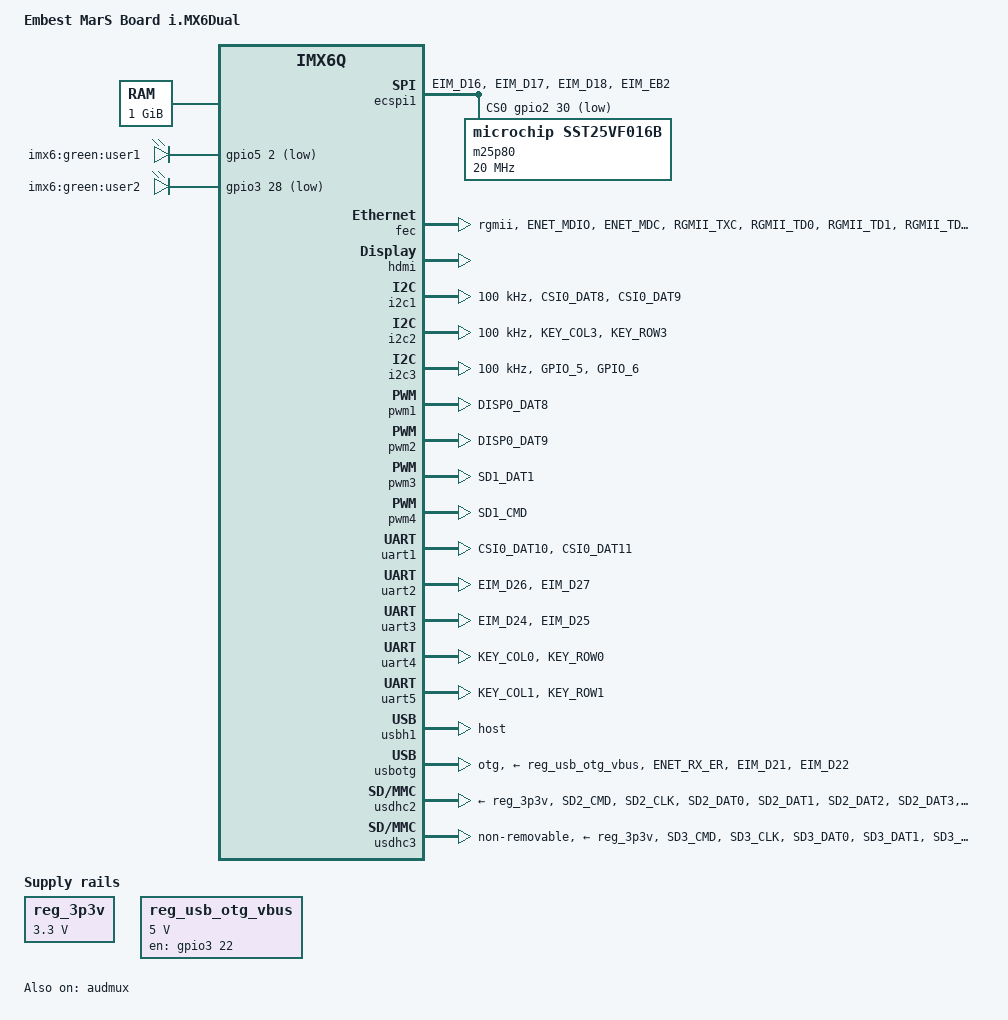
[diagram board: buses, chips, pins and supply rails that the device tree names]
/*
 * Copyright (C) 2016 Sergio Prado (sergio.prado@e-labworks.com)
 *
 * This file is dual-licensed: you can use it either under the terms
 * of the GPL or the X11 license, at your option. Note that this dual
 * licensing only applies to this file, and not this project as a
 * whole.
 *
 *  a) This file is free software; you can redistribute it and/or
 *     modify it under the terms of the GNU General Public License
 *     version 2 as published by the Free Software Foundation.
 *
 *     This file is distributed in the hope that it will be useful
 *     but WITHOUT ANY WARRANTY; without even the implied warranty of
 *     MERCHANTABILITY or FITNESS FOR A PARTICULAR PURPOSE.  See the
 *     GNU General Public License for more details.
 *
 * Or, alternatively
 *
 *  b) Permission is hereby granted, free of charge, to any person
 *     obtaining a copy of this software and associated documentation
 *     files (the "Software"), to deal in the Software without
 *     restriction, including without limitation the rights to use
 *     copy, modify, merge, publish, distribute, sublicense, and/or
 *     sell copies of the Software, and to permit persons to whom the
 *     Software is furnished to do so, subject to the following
 *     conditions:
 *
 *     The above copyright notice and this permission notice shall be
 *     included in all copies or substantial portions of the Software.
 *
 *     THE SOFTWARE IS PROVIDED , WITHOUT WARRANTY OF ANY KIND
 *     EXPRESS OR IMPLIED, INCLUDING BUT NOT LIMITED TO THE WARRANTIES
 *     OF MERCHANTABILITY, FITNESS FOR A PARTICULAR PURPOSE AND
 *     NONINFRINGEMENT. IN NO EVENT SHALL THE AUTHORS OR COPYRIGHT
 *     HOLDERS BE LIABLE FOR ANY CLAIM, DAMAGES OR OTHER LIABILITY
 *     WHETHER IN AN ACTION OF CONTRACT, TORT OR OTHERWISE, ARISING
 *     FROM, OUT OF OR IN CONNECTION WITH THE SOFTWARE OR THE USE OR
 *     OTHER DEALINGS IN THE SOFTWARE.
 */

/dts-v1/;
#include "imx6q.dtsi"
#include <dt-bindings/gpio/gpio.h>

/ {
	model = "Embest MarS Board i.MX6Dual";
	compatible = "embest,imx6q-marsboard", "fsl,imx6q";

	memory {
		reg = <0x10000000 0x40000000>;
	};

	reg_3p3v: regulator-3p3v {
		compatible = "regulator-fixed";
		regulator-name = "3P3V";
		regulator-min-microvolt = <3300000>;
		regulator-max-microvolt = <3300000>;
	};

	reg_usb_otg_vbus: regulator-usb-otg-vbus {
		compatible = "regulator-fixed";
		regulator-name = "usb_otg_vbus";
		regulator-min-microvolt = <5000000>;
		regulator-max-microvolt = <5000000>;
		gpio = <&gpio3 22 GPIO_ACTIVE_HIGH>;
		enable-active-high;
	};

	leds {
		compatible = "gpio-leds";
		pinctrl-names = "default";
		pinctrl-0 = <&pinctrl_led>;

		user1 {
			label = "imx6:green:user1";
			gpios = <&gpio5 2 GPIO_ACTIVE_LOW>;
			default-state = "off";
			linux,default-trigger = "heartbeat";
		};

		user2 {
			label = "imx6:green:user2";
			gpios = <&gpio3 28 GPIO_ACTIVE_LOW>;
			default-state = "off";
		};
	};
};

&audmux {
	pinctrl-names = "default";
	pinctrl-0 = <&pinctrl_audmux>;
	status = "okay";
};

&ecspi1 {
	pinctrl-names = "default";
	pinctrl-0 = <&pinctrl_ecspi1>;
	cs-gpios = <&gpio2 30 GPIO_ACTIVE_LOW>;
	fsl,spi-num-chipselects = <1>;
	status = "okay";

	m25p80@0 {
		compatible = "microchip,sst25vf016b";
		spi-max-frequency = <20000000>;
		reg = <0>;
	};
};

&fec {
	pinctrl-names = "default";
	pinctrl-0 = <&pinctrl_enet>;
	phy-mode = "rgmii";
	phy-reset-gpios = <&gpio3 31 GPIO_ACTIVE_LOW>;
	status = "okay";
};

&hdmi {
	ddc-i2c-bus = <&i2c2>;
	status = "okay";
};

&i2c1 {
	clock-frequency = <100000>;
	pinctrl-names = "default";
	pinctrl-0 = <&pinctrl_i2c1>;
	status = "okay";
};

&i2c2 {
	clock-frequency = <100000>;
	pinctrl-names = "default";
	pinctrl-0 = <&pinctrl_i2c2>;
	status = "okay";
};

&i2c3 {
	clock-frequency = <100000>;
	pinctrl-names = "default";
	pinctrl-0 = <&pinctrl_i2c3>;
	status = "okay";
};

&pwm1 {
	pinctrl-names = "default";
	pinctrl-0 = <&pinctrl_pwm1>;
	status = "okay";
};

&pwm2 {
	pinctrl-names = "default";
	pinctrl-0 = <&pinctrl_pwm2>;
	status = "okay";
};

&pwm3 {
	pinctrl-names = "default";
	pinctrl-0 = <&pinctrl_pwm3>;
	status = "okay";
};

&pwm4 {
	pinctrl-names = "default";
	pinctrl-0 = <&pinctrl_pwm4>;
	status = "okay";
};

&uart1 {
	pinctrl-names = "default";
	pinctrl-0 = <&pinctrl_uart1>;
	status = "okay";
};

&uart2 {
	pinctrl-names = "default";
	pinctrl-0 = <&pinctrl_uart2>;
	status = "okay";
};

&uart3 {
	pinctrl-names = "default";
	pinctrl-0 = <&pinctrl_uart3>;
	status = "okay";
};

&uart4 {
	pinctrl-names = "default";
	pinctrl-0 = <&pinctrl_uart4>;
	status = "okay";
};

&uart5 {
	pinctrl-names = "default";
	pinctrl-0 = <&pinctrl_uart5>;
	status = "okay";
};

&usbh1 {
	dr_mode = "host";
	disable-over-current;
	status = "okay";
};

&usbotg {
	vbus-supply = <&reg_usb_otg_vbus>;
	pinctrl-names = "default";
	pinctrl-0 = <&pinctrl_usbotg>;
	dr_mode = "otg";
	disable-over-current;
	status = "okay";
};

&usdhc2 {
	pinctrl-names = "default";
	pinctrl-0 = <&pinctrl_usdhc2>;
	vmmc-supply = <&reg_3p3v>;
	cd-gpios = <&gpio1 4 GPIO_ACTIVE_LOW>;
	wp-gpios = <&gpio1 2 GPIO_ACTIVE_HIGH>;
	status = "okay";
};

&usdhc3 {
	pinctrl-names = "default";
	pinctrl-0 = <&pinctrl_usdhc3>;
	vmmc-supply = <&reg_3p3v>;
	non-removable;
	status = "okay";
};

&iomuxc {

	pinctrl_audmux: audmuxgrp {
		fsl,pins = <
			MX6QDL_PAD_CSI0_DAT7__AUD3_RXD		0x130b0
			MX6QDL_PAD_CSI0_DAT4__AUD3_TXC		0x130b0
			MX6QDL_PAD_CSI0_DAT5__AUD3_TXD		0x110b0
			MX6QDL_PAD_CSI0_DAT6__AUD3_TXFS		0x130b0
			MX6QDL_PAD_GPIO_0__CCM_CLKO1		0x130b0	/* CAM_MCLK */
		>;
	};

	pinctrl_ecspi1: ecspi1grp {
		fsl,pins = <
			MX6QDL_PAD_EIM_D16__ECSPI1_SCLK		0x100b1
			MX6QDL_PAD_EIM_D17__ECSPI1_MISO		0x100b1
			MX6QDL_PAD_EIM_D18__ECSPI1_MOSI		0x100b1
			MX6QDL_PAD_EIM_EB2__GPIO2_IO30		0x000b1	/* CS0 */
		>;
	};

	pinctrl_enet: enetgrp {
		fsl,pins = <
			MX6QDL_PAD_ENET_MDIO__ENET_MDIO		0x1b0b0
			MX6QDL_PAD_ENET_MDC__ENET_MDC		0x1b0b0
			MX6QDL_PAD_RGMII_TXC__RGMII_TXC		0x1b030
			MX6QDL_PAD_RGMII_TD0__RGMII_TD0		0x1b030
			MX6QDL_PAD_RGMII_TD1__RGMII_TD1		0x1b030
			MX6QDL_PAD_RGMII_TD2__RGMII_TD2		0x1b030
			MX6QDL_PAD_RGMII_TD3__RGMII_TD3		0x1b030
			MX6QDL_PAD_RGMII_TX_CTL__RGMII_TX_CTL	0x1b030
			/* AR8035 CLK_25M --> ENET_REF_CLK (V22) */
			MX6QDL_PAD_ENET_REF_CLK__ENET_TX_CLK	0x0a0b1
			/* AR8035 pin strapping: IO voltage: pull up */
			MX6QDL_PAD_RGMII_RXC__RGMII_RXC		0x1b030
			/* AR8035 pin strapping: PHYADDR#0: pull down */
			MX6QDL_PAD_RGMII_RD0__RGMII_RD0		0x13030
			/* AR8035 pin strapping: PHYADDR#1: pull down */
			MX6QDL_PAD_RGMII_RD1__RGMII_RD1		0x13030
			/* AR8035 pin strapping: MODE#1: pull up */
			MX6QDL_PAD_RGMII_RD2__RGMII_RD2		0x1b030
			/* AR8035 pin strapping: MODE#3: pull up */
			MX6QDL_PAD_RGMII_RD3__RGMII_RD3		0x1b030
			/* AR8035 pin strapping: MODE#0: pull down */
			MX6QDL_PAD_RGMII_RX_CTL__RGMII_RX_CTL	0x13030
			/* GPIO16 -> AR8035 25MHz */
			MX6QDL_PAD_GPIO_16__ENET_REF_CLK	0x4001b0a8
			/* RGMII_nRST */
			MX6QDL_PAD_EIM_D31__GPIO3_IO31		0x130b0
			/* AR8035 interrupt */
			MX6QDL_PAD_ENET_TX_EN__GPIO1_IO28	0x180b0
		>;
	};

	pinctrl_i2c1: i2c1grp {
		fsl,pins = <
			MX6QDL_PAD_CSI0_DAT8__I2C1_SDA		0x4001b8b1
			MX6QDL_PAD_CSI0_DAT9__I2C1_SCL		0x4001b8b1
		>;
	};

	pinctrl_i2c2: i2c2grp {
		fsl,pins = <
			MX6QDL_PAD_KEY_COL3__I2C2_SCL		0x4001b8b1
			MX6QDL_PAD_KEY_ROW3__I2C2_SDA		0x4001b8b1
		>;
	};

	pinctrl_i2c3: i2c3grp {
		fsl,pins = <
			MX6QDL_PAD_GPIO_5__I2C3_SCL		0x4001b8b1
			MX6QDL_PAD_GPIO_6__I2C3_SDA		0x4001b8b1
		>;
	};

	pinctrl_led: ledgrp {
		fsl,pins = <
			MX6QDL_PAD_EIM_A25__GPIO5_IO02		0x1b0b1	/* LED1 */
			MX6QDL_PAD_EIM_D28__GPIO3_IO28		0x1b0b1	/* LED2 */
		>;
	};

	pinctrl_pwm1: pwm1grp {
		fsl,pins = <
			MX6QDL_PAD_DISP0_DAT8__PWM1_OUT		0x1b0b1
		>;
	};

	pinctrl_pwm2: pwm2grp {
		fsl,pins = <
			MX6QDL_PAD_DISP0_DAT9__PWM2_OUT		0x1b0b1
		>;
	};

	pinctrl_pwm3: pwm3grp {
		fsl,pins = <
			MX6QDL_PAD_SD1_DAT1__PWM3_OUT		0x1b0b1
		>;
	};

	pinctrl_pwm4: pwm4grp {
		fsl,pins = <
			MX6QDL_PAD_SD1_CMD__PWM4_OUT		0x1b0b1
		>;
	};

	pinctrl_uart1: uart1grp {
		fsl,pins = <
			MX6QDL_PAD_CSI0_DAT10__UART1_TX_DATA	0x1b0b1
			MX6QDL_PAD_CSI0_DAT11__UART1_RX_DATA	0x1b0b1
		>;
	};

	pinctrl_uart2: uart2grp {
		fsl,pins = <
			MX6QDL_PAD_EIM_D26__UART2_TX_DATA	0x1b0b1
			MX6QDL_PAD_EIM_D27__UART2_RX_DATA	0x1b0b1
		>;
	};

	pinctrl_uart3: uart3grp {
		fsl,pins = <
			MX6QDL_PAD_EIM_D24__UART3_TX_DATA	0x1b0b1
			MX6QDL_PAD_EIM_D25__UART3_RX_DATA	0x1b0b1
		>;
	};

	pinctrl_uart4: uart4grp {
		fsl,pins = <
			MX6QDL_PAD_KEY_COL0__UART4_TX_DATA	0x1b0b1
			MX6QDL_PAD_KEY_ROW0__UART4_RX_DATA	0x1b0b1
		>;
	};

	pinctrl_uart5: uart5grp {
		fsl,pins = <
			MX6QDL_PAD_KEY_COL1__UART5_TX_DATA	0x1b0b1
			MX6QDL_PAD_KEY_ROW1__UART5_RX_DATA	0x1b0b1
		>;
	};

	pinctrl_usbotg: usbotggrp {
		fsl,pins = <
			MX6QDL_PAD_ENET_RX_ER__USB_OTG_ID	0x17059
			MX6QDL_PAD_EIM_D21__USB_OTG_OC		0x1b0b0
			MX6QDL_PAD_EIM_D22__GPIO3_IO22		0x000b0	/* USB OTG POWER ENABLE */
		>;
	};

	pinctrl_usdhc2: usdhc2grp {
		fsl,pins = <
			MX6QDL_PAD_SD2_CMD__SD2_CMD		0x17059
			MX6QDL_PAD_SD2_CLK__SD2_CLK		0x10059
			MX6QDL_PAD_SD2_DAT0__SD2_DATA0		0x17059
			MX6QDL_PAD_SD2_DAT1__SD2_DATA1		0x17059
			MX6QDL_PAD_SD2_DAT2__SD2_DATA2		0x17059
			MX6QDL_PAD_SD2_DAT3__SD2_DATA3		0x17059
			MX6QDL_PAD_GPIO_4__GPIO1_IO04		0x1b0b0	/* CD */
			MX6QDL_PAD_GPIO_2__GPIO1_IO02		0x1f0b0	/* WP */
		>;
	};

	pinctrl_usdhc3: usdhc3grp {
		fsl,pins = <
			MX6QDL_PAD_SD3_CMD__SD3_CMD		0x17009
			MX6QDL_PAD_SD3_CLK__SD3_CLK		0x10009
			MX6QDL_PAD_SD3_DAT0__SD3_DATA0		0x17009
			MX6QDL_PAD_SD3_DAT1__SD3_DATA1		0x17009
			MX6QDL_PAD_SD3_DAT2__SD3_DATA2		0x17009
			MX6QDL_PAD_SD3_DAT3__SD3_DATA3		0x17009
			MX6QDL_PAD_SD3_RST__SD3_RESET		0x17009
		>;
	};
};
